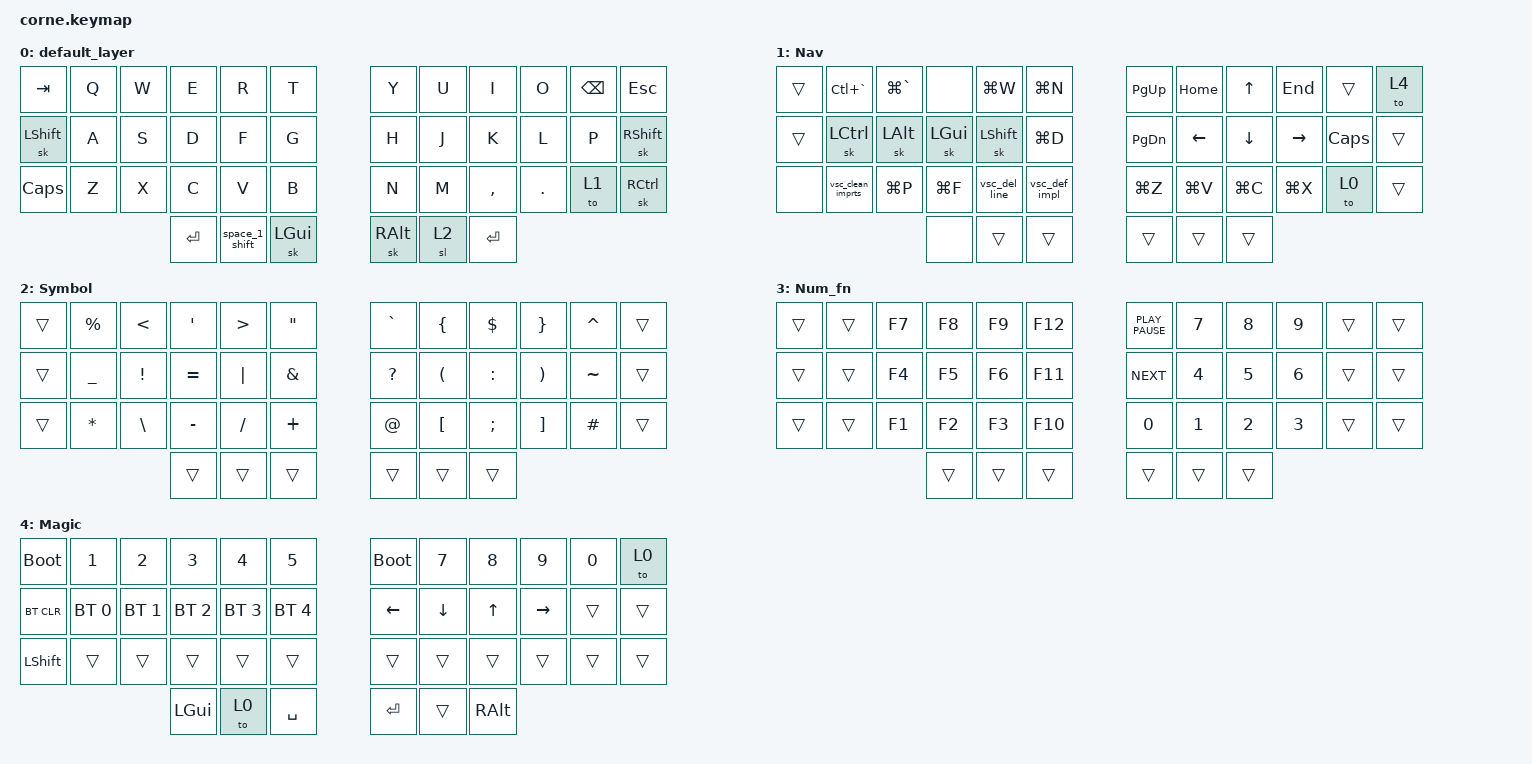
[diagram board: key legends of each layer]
/*
 * Copyright (c) 2020 The ZMK Contributors
 *
 * SPDX-License-Identifier: MIT
 */

#include <behaviors.dtsi>
#include <dt-bindings/zmk/bt.h>
#include <dt-bindings/zmk/keys.h>

&sk {
    release-after-ms = <2000>;
    quick-release;
};

&lt { flavor = "hold-preferred"; };

/ {
    behaviors {
        enter_to_nav: enter_to_nav {
            compatible = "zmk,behavior-mod-morph";
            label = "ENTER_TO_NAV";
            bindings = <&kp ENTER>, <&to 1>;

            #binding-cells = <0>;
            mods = <(MOD_LSFT|MOD_RSFT)>;
        };

        vsc_def_impl: vsc_def_impl {
            compatible = "zmk,behavior-mod-morph";
            label = "VSC_DEF_IMPL";
            bindings = <&kp LA(LG(BACKSLASH))>, <&kp LS(F12)>;

            #binding-cells = <0>;
            mods = <(MOD_RSFT|MOD_LSFT)>;
        };

        space_1_shift: space_1_shift {
            compatible = "zmk,behavior-mod-morph";
            label = "SPACE_1_SHIFT";
            bindings = <&lt 1 SPACE>, <&kp LEFT_SHIFT>;

            #binding-cells = <0>;
            mods = <(MOD_LGUI|MOD_RGUI)>;
            keep-mods = <(MOD_LGUI|MOD_RGUI)>;
        };
    };

    macros {
        vsc_del_line: vsc_del_line {
            compatible = "zmk,behavior-macro";
            #binding-cells = <0>;
            bindings =
                <&macro_press>,
                <&kp LEFT_GUI &kp LEFT_SHIFT>,
                <&macro_tap>,
                <&kp D>,
                <&macro_release>,
                <&kp LEFT_GUI &kp LEFT_SHIFT>;

            label = "VSC_DEL_LINE";
        };

        vsc_clean_imprts: vsc_clean_imprts {
            compatible = "zmk,behavior-macro";
            #binding-cells = <0>;
            bindings =
                <&macro_press>,
                <&kp LEFT_GUI &kp LEFT_ALT>,
                <&macro_tap>,
                <&kp I>,
                <&macro_release>,
                <&kp LEFT_GUI &kp LEFT_ALT>,
                <&macro_press>,
                <&kp LEFT_GUI>,
                <&macro_tap>,
                <&kp K>,
                <&macro_release>,
                <&kp LEFT_GUI>;

            label = "VSC_CLEAN_IMPRTS";
        };

        cmd_tab: cmd_tab {
            compatible = "zmk,behavior-macro";
            #binding-cells = <0>;
            bindings =
                <&macro_press>,
                <&kp LEFT_GUI>,
                <&macro_tap>,
                <&kp TAB &kp LEFT_GUI>,
                <&macro_release>,
                <&kp LEFT_GUI>;

            label = "CMD_TAB";
        };
    };

    keymap {
        compatible = "zmk,keymap";

        default_layer {
            // -----------------------------------------------------------------------------------------
            // |  TAB |  Q  |  W  |  E  |  R  |  T  |   |  Y  |  U   |  I  |  O  |  P  | BKSP |
            // | CTRL |  A  |  S  |  D  |  F  |  G  |   |  H  |  J   |  K  |  L  |  ;  |  '   |
            // | SHFT |  Z  |  X  |  C  |  V  |  B  |   |  N  |  M   |  ,  |  .  |  /  | ESC  |
            //                    | GUI | LWR | SPC |   | ENT | RSE  | ALT |

            bindings = <
&kp TAB         &kp Q  &kp W  &kp E      &kp R           &kp T           &kp Y          &kp U  &kp I      &kp O    &kp BACKSPACE  &kp ESC
&sk LEFT_SHIFT  &kp A  &kp S  &kp D      &kp F           &kp G           &kp H          &kp J  &kp K      &kp L    &kp P          &sk RIGHT_SHIFT
&kp CAPSLOCK    &kp Z  &kp X  &kp C      &kp V           &kp B           &kp N          &kp M  &kp COMMA  &kp DOT  &to 1          &sk RCTRL
                              &kp ENTER  &space_1_shift  &sk LEFT_GUI    &sk RIGHT_ALT  &sl 2  &kp ENTER
            >;
        };

        Nav {
            bindings = <
&trans  &kp LC(GRAVE)      &kp LG(GRAVE)  &none         &kp LG(W)       &kp LG(N)        &kp PAGE_UP    &kp HOME        &kp UP_ARROW    &kp END          &trans    &to 4
&trans  &sk LEFT_CONTROL   &sk LEFT_ALT   &sk LEFT_GUI  &sk LEFT_SHIFT  &kp LG(D)        &kp PAGE_DOWN  &kp LEFT_ARROW  &kp DOWN_ARROW  &kp RIGHT_ARROW  &kp CAPS  &trans
&none   &vsc_clean_imprts  &kp LG(P)      &kp LG(F)     &vsc_del_line   &vsc_def_impl    &kp LG(Z)      &kp LG(V)       &kp LG(C)       &kp LG(X)        &to 0     &trans
                                          &none         &trans          &trans           &trans         &trans          &trans
            >;
        };

        Symbol {
            // -----------------------------------------------------------------------------------------
            // |  TAB |  !  |  @  |  #  |  $  |  %  |   |  ^  |  &  |  *  |  (  |  )  | BKSP |
            // | CTRL |     |     |     |     |     |   |  -  |  =  |  [  |  ]  |  \  |  `   |
            // | SHFT |     |     |     |     |     |   |  _  |  +  |  {  |  }  | "|" |  ~   |
            //                    | GUI |     | SPC |   | ENT |     | ALT |

            bindings = <
&trans  &kp PERCENT     &kp LESS_THAN    &kp SINGLE_QUOTE  &kp GREATER_THAN  &kp DOUBLE_QUOTES    &kp GRAVE     &kp LEFT_BRACE        &kp DOLLAR     &kp RIGHT_BRACE        &kp CARET  &trans
&trans  &kp UNDERSCORE  &kp EXCLAMATION  &kp EQUAL         &kp PIPE          &kp AMPERSAND        &kp QUESTION  &kp LEFT_PARENTHESIS  &kp COLON      &kp RIGHT_PARENTHESIS  &kp TILDE  &trans
&trans  &kp ASTERISK    &kp BSLH         &kp MINUS         &kp SLASH         &kp PLUS             &kp AT_SIGN   &kp LEFT_BRACKET      &kp SEMICOLON  &kp RIGHT_BRACKET      &kp HASH   &trans
                                         &trans            &trans            &trans               &trans        &trans                &trans
            >;
        };

        Num_fn {
            bindings = <
&trans  &trans  &kp F7  &kp F8  &kp F9  &kp F12    &kp K_PLAY_PAUSE  &kp N7  &kp N8  &kp N9  &trans  &trans
&trans  &trans  &kp F4  &kp F5  &kp F6  &kp F11    &kp K_NEXT        &kp N4  &kp N5  &kp N6  &trans  &trans
&trans  &trans  &kp F1  &kp F2  &kp F3  &kp F10    &kp N0            &kp N1  &kp N2  &kp N3  &trans  &trans
                        &trans  &trans  &trans     &trans            &trans  &trans
            >;
        };

        Magic {
            // -----------------------------------------------------------------------------------------
            // |  TAB |  1  |  2  |  3  |  4  |  5  |   |  6  |  7  |  8  |  9  |  0  | BKSP |
            // | BTCLR| BT1 | BT2 | BT3 | BT4 | BT5 |   | LFT | DWN |  UP | RGT |     |      |
            // | SHFT |     |     |     |     |     |   |     |     |     |     |     |      |
            //                    | GUI |     | SPC |   | ENT |     | ALT |

            bindings = <
&bootloader  &kp N1        &kp N2        &kp N3        &kp N4        &kp N5          &bootloader  &kp N7    &kp N8    &kp N9     &kp N0  &to 0
&bt BT_CLR   &bt BT_SEL 0  &bt BT_SEL 1  &bt BT_SEL 2  &bt BT_SEL 3  &bt BT_SEL 4    &kp LEFT     &kp DOWN  &kp UP    &kp RIGHT  &trans  &trans
&kp LSHFT    &trans        &trans        &trans        &trans        &trans          &trans       &trans    &trans    &trans     &trans  &trans
                                         &kp LGUI      &to 0         &kp SPACE       &kp RET      &trans    &kp RALT
            >;
        };
    };

    conditional_layers {
        compatible = "zmk,conditional-layers";

        num {
            if-layers = <1 2>;
            then-layer = <3>;
        };
    };
};
